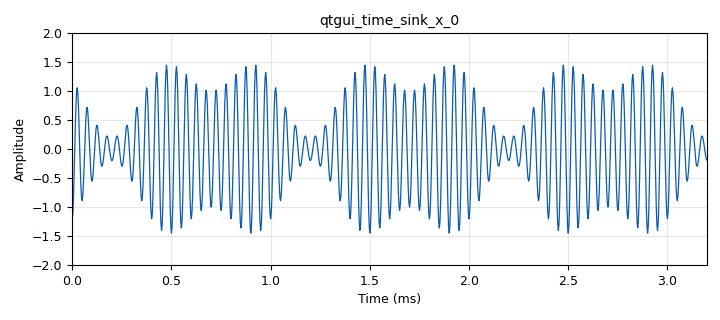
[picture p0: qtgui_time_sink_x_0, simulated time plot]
options:
  parameters:
    author: mdoallo
    description: Generación de una señal de AM con dos tonos.
    generate_options: qt_gui
    id: AM_con_dos_tonos
    output_language: python
    title: AM con dos tonos
  states: {}

blocks:
- name: samp_rate
  id: variable
  parameters:
    value: '320000'
  states: {}
- name: analog_const_source_x_0
  id: analog_const_source_x
  parameters:
    const: '-1'
    type: float
  states: {}
- name: analog_sig_source_x_0
  id: analog_sig_source_x
  parameters:
    amp: '1'
    comment: Oscilador de portadora
    freq: '20000'
    offset: '0'
    phase: '0'
    samp_rate: samp_rate
    type: float
    waveform: analog.GR_COS_WAVE
  states: {}
- name: analog_sig_source_x_0_0
  id: analog_sig_source_x
  parameters:
    amp: '.4'
    comment: Oscilador de modulante 2
    freq: '2000'
    offset: '0'
    phase: '0'
    samp_rate: samp_rate
    type: float
    waveform: analog.GR_COS_WAVE
  states: {}
- name: analog_sig_source_x_0_0_0
  id: analog_sig_source_x
  parameters:
    amp: '.4'
    comment: Oscilador de modulante 1
    freq: '1000'
    offset: '0'
    phase: '0'
    samp_rate: samp_rate
    type: float
    waveform: analog.GR_COS_WAVE
  states: {}
- name: blocks_add_xx_0
  id: blocks_add_xx
  parameters:
    num_inputs: '3'
    type: float
  states: {}
- name: blocks_multiply_xx_0
  id: blocks_multiply_xx
  parameters:
    type: float
  states: {}
- name: blocks_throttle_0
  id: blocks_throttle
  parameters:
    samples_per_second: samp_rate
    type: float
  states: {}
- name: qtgui_time_sink_x_0
  id: qtgui_time_sink_x
  parameters:
    size: '1024'
    srate: samp_rate
    type: float
    ymax: '2'
    ymin: '-2'
  states: {}

connections:
- [analog_const_source_x_0, '0', blocks_add_xx_0, '2']
- [analog_sig_source_x_0, '0', blocks_multiply_xx_0, '1']
- [analog_sig_source_x_0_0, '0', blocks_add_xx_0, '1']
- [analog_sig_source_x_0_0_0, '0', blocks_add_xx_0, '0']
- [blocks_add_xx_0, '0', blocks_multiply_xx_0, '0']
- [blocks_multiply_xx_0, '0', blocks_throttle_0, '0']
- [blocks_throttle_0, '0', qtgui_time_sink_x_0, '0']

metadata:
  file_format: 1
